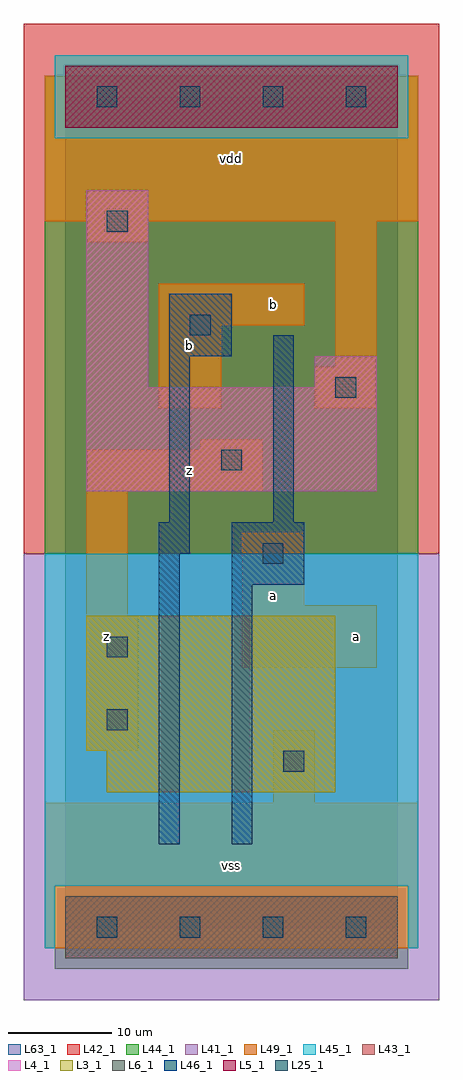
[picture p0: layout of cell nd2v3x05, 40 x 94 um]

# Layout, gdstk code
import gdstk
lib = gdstk.Library(unit=1e-6, precision=1e-09)
def R(c, l, rs):  # rectangles x0, y0, x1, y1
    for r in rs: c.add(gdstk.rectangle(r[:2], r[2:], *l))
def A(c, l, x, y, w, h, nx, ny, dx, dy):  # array of equal rectangles
    R(c, l, [(x+i*dx, y+j*dy, x+i*dx+w, y+j*dy+h) for i in range(nx) for j in range(ny)])
L3_1 = (3, 1)
L4_1 = (4, 1)
L5_1 = (5, 1)
L6_1 = (6, 1)
L25_1 = (25, 1)
L41_1 = (41, 1)
L42_1 = (42, 1)
L43_1 = (43, 1)
L44_1 = (44, 1)
L45_1 = (45, 1)
L46_1 = (46, 1)
L49_1 = (49, 1)
L63_1 = (63, 1)

nd2v3x05 = lib.new_cell('nd2v3x05')
R(nd2v3x05, L3_1, [(4,13,26,17), (2,17,26,30)])
R(nd2v3x05, L4_1, [(2,42,30,52), (2,52,8,71), (24,52,30,55)])
R(nd2v3x05, L5_1, [(0,77,32,83)])
R(nd2v3x05, L6_1, [(0,-3,32,3), (0,-3,32,3)])
A(nd2v3x05, L25_1, 3, -1, 2, 2, 4, 2, 8, 80)
R(nd2v3x05, L25_1, [(21,15,23,17), (4,19,6,21), (4,26,6,28), (19,35,21,37), (15,44,17,46), (26,51,28,53), (12,57,14,59), (4,67,6,69)])
R(nd2v3x05, L41_1, [(-4,-7,36,36)])
R(nd2v3x05, L42_1, [(-4,36,36,87)])
R(nd2v3x05, L43_1, [(0,-3,32,3), (4,13,26,17), (2,17,26,30), (2,42,30,52), (2,52,8,71), (24,52,30,55), (0,77,32,83)])
R(nd2v3x05, L44_1, [(-1,-4,33,4), (-2,36,34,76), (-2,76,-1,82), (33,76,34,82)])
R(nd2v3x05, L45_1, [(-2,-2,-1,4), (33,-2,34,4), (-2,4,34,36), (-1,76,33,84)])
R(nd2v3x05, L46_1, [(9,8,11,36), (16,8,18,33), (16,33,23,39), (9,36,12,39), (10,39,12,55), (20,39,22,57), (10,55,16,61)])
R(nd2v3x05, L49_1, [(-2,-2,34,12), (20,12,24,19), (2,17,7,30), (17,25,30,31), (2,30,6,42), (17,31,23,38), (2,42,19,46), (13,46,19,47), (9,50,15,58), (24,50,30,54), (26,54,30,68), (9,58,23,62), (2,66,8,68), (-2,68,34,82)])
R(nd2v3x05, L63_1, [(0,0,32,80)])
nd2v3x05.add(gdstk.Label('z', (4,28), layer=49, texttype=1))
nd2v3x05.add(gdstk.Label('z', (12,44), layer=49, texttype=1))
nd2v3x05.add(gdstk.Label('b', (12,56), layer=49, texttype=1))
nd2v3x05.add(gdstk.Label('vss', (16,6), layer=49, texttype=1))
nd2v3x05.add(gdstk.Label('a', (20,32), layer=49, texttype=1))
nd2v3x05.add(gdstk.Label('b', (20,60), layer=49, texttype=1))
nd2v3x05.add(gdstk.Label('vdd', (16,74), layer=49, texttype=1))
nd2v3x05.add(gdstk.Label('a', (28,28), layer=49, texttype=1))

lib.write_gds('nd2v3x05.gds')
